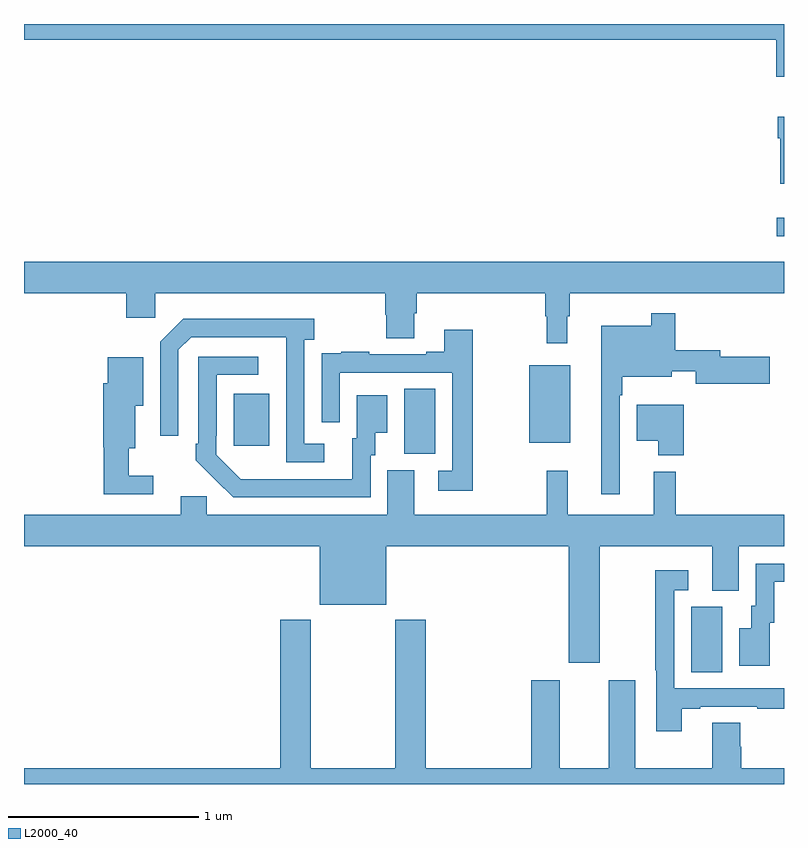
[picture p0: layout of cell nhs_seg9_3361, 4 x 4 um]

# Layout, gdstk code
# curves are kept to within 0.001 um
import gdstk
lib = gdstk.Library(unit=1e-6, precision=1e-09)
def R(c, l, rs):  # rectangles x0, y0, x1, y1
    for r in rs: c.add(gdstk.rectangle(r[:2], r[2:], *l))
def P(c, l, *ps):  # polygons
    for p in ps: c.add(gdstk.Polygon(p, *l))
L2000_40 = (2000, 40)

nhs_seg9_3361 = lib.new_cell('nhs_seg9_3361')
R(nhs_seg9_3361, L2000_40, [(306.512,1197.088,306.676,1197.432), (305,1198.237,305.164,1198.58), (304.103,1198.281,304.291,1198.555), (305.66,1198.295,305.875,1198.705), (306.963,1199.384,307,1199.481)])
P(nhs_seg9_3361, L2000_40, [(307,1200.5),(303,1200.5),(303,1200.416),(306.959,1200.416),(306.959,1200.222),(307,1200.222)],
  [(307,1200.013),(306.968,1200.013),(306.968,1199.9),(306.98,1199.9),(306.98,1199.66),(307,1199.66)],
  [(305.86,1198.961),(305.872,1198.961),(305.872,1199.084),(307,1199.084),(307,1199.248),(303,1199.248),(303,1199.084),(303.539,1199.084),(303.539,1198.953),(303.69,1198.953),(303.69,1199.084),(304.901,1199.084),(304.901,1198.971),(304.906,1198.971),(304.906,1198.846),(305.053,1198.846),(305.053,1198.978),(305.066,1198.978),(305.066,1199.084),(305.743,1199.084),(305.743,1198.961),(305.751,1198.961),(305.751,1198.821),(305.86,1198.821)],
  [(306.135,1198.547),(306.148,1198.547),(306.148,1198.643),(306.409,1198.643),(306.409,1198.673),(306.536,1198.673),(306.536,1198.607),(306.925,1198.607),(306.925,1198.749),(306.664,1198.749),(306.664,1198.783),(306.428,1198.783),(306.428,1198.978),(306.3,1198.978),(306.3,1198.912),(306.038,1198.912),(306.038,1198.026),(306.135,1198.026)],
  [(304.579,1198.29),(304.476,1198.29),(304.476,1198.838),(304.528,1198.838),(304.528,1198.948),(303.838,1198.948),(303.717,1198.827),(303.717,1198.332),(303.813,1198.332),(303.813,1198.785),(303.879,1198.851),(304.379,1198.851),(304.38,1198.194),(304.579,1198.194)],
  [(305.362,1198.891),(305.213,1198.891),(305.213,1198.774),(305.117,1198.774),(305.117,1198.761),(304.817,1198.761),(304.817,1198.774),(304.669,1198.774),(304.669,1198.767),(304.567,1198.767),(304.567,1198.658),(304.566,1198.658),(304.566,1198.404),(304.662,1198.404),(304.662,1198.665),(305.253,1198.665),(305.253,1198.149),(305.181,1198.149),(305.181,1198.044),(305.362,1198.044)],
  [(304.824,1198.23),(304.849,1198.23),(304.849,1198.349),(304.912,1198.349),(304.912,1198.546),(304.751,1198.546),(304.751,1198.32),(304.727,1198.32),(304.727,1198.104),(304.14,1198.105),(304.011,1198.233),(304.011,1198.333),(304.014,1198.333),(304.014,1198.653),(304.234,1198.653),(304.234,1198.749),(303.918,1198.749),(303.918,1198.291),(303.903,1198.291),(303.903,1198.203),(304.1,1198.008),(304.824,1198.008)],
  [(303.679,1198.123),(303.55,1198.123),(303.55,1198.268),(303.586,1198.268),(303.586,1198.49),(303.628,1198.49),(303.628,1198.747),(303.44,1198.747),(303.44,1198.608),(303.416,1198.608),(303.416,1198.272),(303.421,1198.272),(303.421,1198.026),(303.679,1198.026)],
  [(306.473,1198.495),(306.224,1198.495),(306.224,1198.307),(306.338,1198.307),(306.338,1198.229),(306.473,1198.229)],
  [(306.031,1197.752),(306.623,1197.752),(306.623,1197.517),(306.763,1197.517),(306.763,1197.752),(307,1197.752),(307,1197.916),(306.431,1197.916),(306.431,1198.144),(306.314,1198.144),(306.314,1197.916),(305.861,1197.916),(305.861,1198.15),(305.751,1198.15),(305.751,1197.916),(305.053,1197.916),(305.053,1198.152),(304.913,1198.152),(304.913,1197.916),(303.963,1197.916),(303.963,1198.014),(303.824,1198.014),(303.824,1197.916),(303,1197.916),(303,1197.752),(304.556,1197.752),(304.556,1197.443),(304.906,1197.443),(304.906,1197.752),(305.867,1197.752),(305.867,1197.138),(306.031,1197.138)],
  [(306.925,1197.348),(306.949,1197.348),(306.949,1197.564),(307,1197.564),(307,1197.66),(306.852,1197.66),(306.852,1197.438),(306.827,1197.438),(306.827,1197.319),(306.764,1197.319),(306.764,1197.123),(306.925,1197.123)],
  [(306.463,1196.895),(306.559,1196.895),(306.559,1196.907),(306.859,1196.907),(306.859,1196.895),(307,1196.895),(307,1197.003),(306.423,1197.003),(306.423,1197.519),(306.496,1197.519),(306.496,1197.625),(306.322,1197.625),(306.322,1197.1),(306.327,1197.1),(306.327,1196.778),(306.463,1196.778)],
  [(307,1196.584),(306.776,1196.584),(306.776,1196.697),(306.771,1196.697),(306.771,1196.822),(306.623,1196.822),(306.623,1196.584),(306.217,1196.584),(306.217,1197.046),(306.077,1197.046),(306.077,1196.584),(305.821,1196.584),(305.821,1197.046),(305.669,1197.046),(305.669,1196.584),(305.114,1196.584),(305.114,1197.364),(304.954,1197.364),(304.954,1196.584),(304.509,1196.584),(304.509,1197.364),(304.349,1197.364),(304.349,1196.584),(303,1196.584),(303,1196.5),(307,1196.5)])

lib.write_gds('nhs_seg9_3361.gds')
